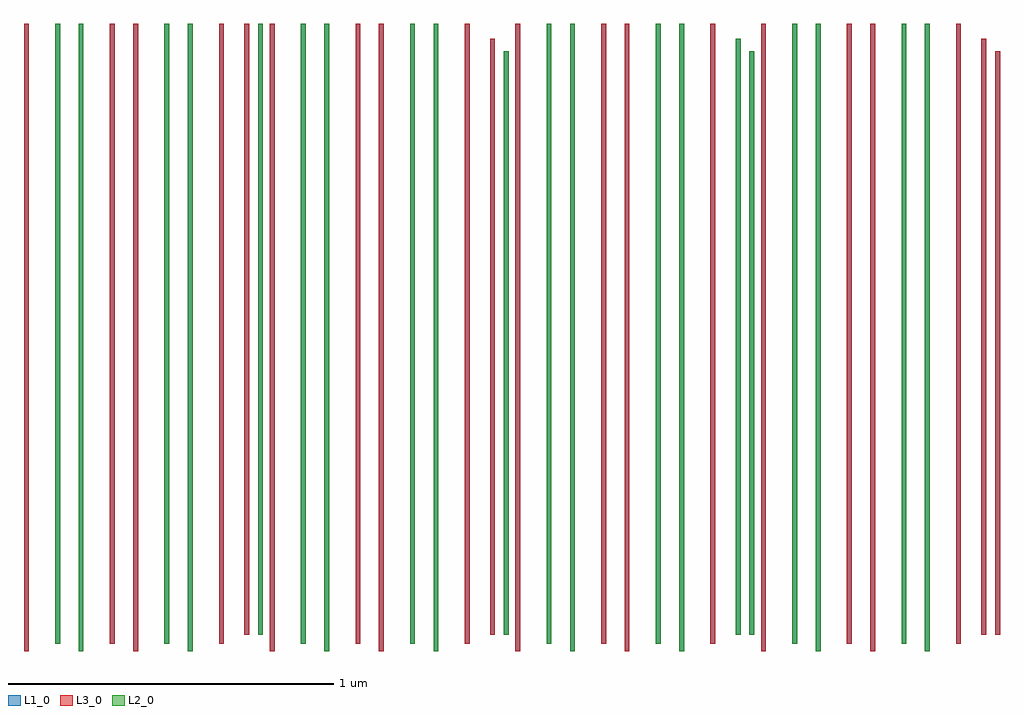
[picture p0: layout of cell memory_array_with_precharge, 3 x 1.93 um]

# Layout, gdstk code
import gdstk
lib = gdstk.Library(unit=1e-6, precision=5e-10)
def R(c, l, rs):  # rectangles x0, y0, x1, y1
    for r in rs: c.add(gdstk.rectangle(r[:2], r[2:], *l))
def A(c, l, x, y, w, h, nx, ny, dx, dy):  # array of equal rectangles
    R(c, l, [(x+i*dx, y+j*dy, x+i*dx+w, y+j*dy+h) for i in range(nx) for j in range(ny)])
L1_0 = (1, 0)
L2_0 = (2, 0)
L3_0 = (3, 0)

sram_6t = lib.new_cell('sram_6t')
R(sram_6t, L1_0, [(0.015,0,0.03,0.2625), (0.111,0,0.126,0.2625)])

proto_hold_precharge_log = lib.new_cell('PROTO_HOLD_precharge_logic_3Q')
R(proto_hold_precharge_log, L1_0, [(-0.174,-0.083,-0.159,-0.063), (-0.078,-0.0595,-0.063,-0.0395)])

memory_array_with_precha = lib.new_cell('memory_array_with_precharge')
A(memory_array_with_precha, L1_0, 0.0215, 0.064, 0.015, 0.061, 4, 1, 0.168, 0)
A(memory_array_with_precha, L1_0, 0.7775, 0.064, 0.015, 0.061, 4, 1, 0.168, 0)
A(memory_array_with_precha, L1_0, 1.5335, 0.064, 0.015, 0.061, 4, 1, 0.168, 0)
A(memory_array_with_precha, L1_0, 2.2895, 0.064, 0.015, 0.061, 4, 1, 0.168, 0)
A(memory_array_with_precha, L1_0, 0.1175, 0.0875, 0.015, 0.037, 4, 1, 0.168, 0)
A(memory_array_with_precha, L1_0, 0.8735, 0.0875, 0.015, 0.037, 4, 1, 0.168, 0)
A(memory_array_with_precha, L1_0, 1.6295, 0.0875, 0.015, 0.037, 4, 1, 0.168, 0)
A(memory_array_with_precha, L1_0, 2.3855, 0.0875, 0.015, 0.037, 4, 1, 0.168, 0)
A(memory_array_with_precha, L1_0, 1.4555, 0.1155, 0.015, 1.8335, 3, 1, 0.756, 0)
A(memory_array_with_precha, L1_0, 1.4975, 0.1155, 0.015, 1.795, 3, 1, 0.756, 0)
R(memory_array_with_precha, L1_0, [(0.6995,0.1155,0.7145,1.995), (0.7415,0.1155,0.7565,1.995)])
R(memory_array_with_precha, L2_0, [(0.1895,0.064,0.2045,1.995), (0.5255,0.064,0.5405,1.995), (0.9455,0.064,0.9605,1.995), (1.2815,0.064,1.2965,1.995), (1.7015,0.064,1.7165,1.995), (2.0375,0.064,2.0525,1.995), (2.4575,0.064,2.4725,1.995), (2.7935,0.064,2.8085,1.995), (0.1175,0.0875,0.1325,1.995), (0.4535,0.0875,0.4685,1.995), (0.8735,0.0875,0.8885,1.995), (1.2095,0.0875,1.2245,1.995), (1.6295,0.0875,1.6445,1.995), (1.9655,0.0875,1.9805,1.995), (2.3855,0.0875,2.4005,1.995), (2.7215,0.0875,2.7365,1.995), (0.7415,0.1155,0.7565,1.995), (1.4975,0.1155,1.5125,1.9105), (2.2115,0.1155,2.2265,1.949), (2.2535,0.1155,2.2685,1.9105)])
R(memory_array_with_precha, L3_0, [(0.0215,0.064,0.0365,1.995), (0.3575,0.064,0.3725,1.995), (0.7775,0.064,0.7925,1.995), (1.1135,0.064,1.1285,1.995), (1.5335,0.064,1.5485,1.995), (1.8695,0.064,1.8845,1.995), (2.2895,0.064,2.3045,1.995), (2.6255,0.064,2.6405,1.995), (0.2855,0.0875,0.3005,1.995), (0.6215,0.0875,0.6365,1.995), (1.0415,0.0875,1.0565,1.995), (1.3775,0.0875,1.3925,1.995), (1.7975,0.0875,1.8125,1.995), (2.1335,0.0875,2.1485,1.995), (2.5535,0.0875,2.5685,1.995), (2.8895,0.0875,2.9045,1.995), (0.6995,0.1155,0.7145,1.995), (1.4555,0.1155,1.4705,1.949), (2.9675,0.1155,2.9825,1.949), (3.0095,0.1155,3.0245,1.9105)])
memory_array_with_precha.add(gdstk.Reference(sram_6t, (0.1745,1.7325)))
memory_array_with_precha.add(gdstk.Reference(sram_6t, (0.3425,1.7325)))
memory_array_with_precha.add(gdstk.Reference(sram_6t, (0.5105,1.7325)))
memory_array_with_precha.add(gdstk.Reference(sram_6t, (0.0065,1.7325)))
memory_array_with_precha.add(gdstk.Reference(sram_6t, (0.5105,1.5015)))
memory_array_with_precha.add(gdstk.Reference(sram_6t, (0.3425,1.5015)))
memory_array_with_precha.add(gdstk.Reference(sram_6t, (0.1745,1.5015)))
memory_array_with_precha.add(gdstk.Reference(sram_6t, (0.0065,1.5015)))
memory_array_with_precha.add(gdstk.Reference(sram_6t, (0.0065,1.2705)))
memory_array_with_precha.add(gdstk.Reference(sram_6t, (0.5105,1.2705)))
memory_array_with_precha.add(gdstk.Reference(sram_6t, (0.3425,1.2705)))
memory_array_with_precha.add(gdstk.Reference(sram_6t, (0.1745,1.2705)))
memory_array_with_precha.add(gdstk.Reference(sram_6t, (0.0065,1.0395)))
memory_array_with_precha.add(gdstk.Reference(sram_6t, (0.1745,1.0395)))
memory_array_with_precha.add(gdstk.Reference(sram_6t, (0.3425,1.0395)))
memory_array_with_precha.add(gdstk.Reference(sram_6t, (0.5105,1.0395)))
memory_array_with_precha.add(gdstk.Reference(sram_6t, (0.1745,0.8085)))
memory_array_with_precha.add(gdstk.Reference(sram_6t, (0.3425,0.8085)))
memory_array_with_precha.add(gdstk.Reference(sram_6t, (0.5105,0.8085)))
memory_array_with_precha.add(gdstk.Reference(sram_6t, (0.0065,0.8085)))
memory_array_with_precha.add(gdstk.Reference(sram_6t, (0.5105,0.5775)))
memory_array_with_precha.add(gdstk.Reference(sram_6t, (0.3425,0.5775)))
memory_array_with_precha.add(gdstk.Reference(sram_6t, (0.1745,0.5775)))
memory_array_with_precha.add(gdstk.Reference(sram_6t, (0.0065,0.3465)))
memory_array_with_precha.add(gdstk.Reference(sram_6t, (0.0065,0.1155)))
memory_array_with_precha.add(gdstk.Reference(sram_6t, (0.5105,0.3465)))
memory_array_with_precha.add(gdstk.Reference(sram_6t, (0.3425,0.3465)))
memory_array_with_precha.add(gdstk.Reference(sram_6t, (0.1745,0.3465)))
memory_array_with_precha.add(gdstk.Reference(sram_6t, (0.1745,0.1155)))
memory_array_with_precha.add(gdstk.Reference(sram_6t, (0.3425,0.1155)))
memory_array_with_precha.add(gdstk.Reference(sram_6t, (0.5105,0.1155)))
memory_array_with_precha.add(gdstk.Reference(sram_6t, (0.0065,0.5775)))
memory_array_with_precha.add(gdstk.Reference(sram_6t, (0.7625,0.1155)))
memory_array_with_precha.add(gdstk.Reference(sram_6t, (0.9305,0.1155)))
memory_array_with_precha.add(gdstk.Reference(sram_6t, (1.0985,0.1155)))
memory_array_with_precha.add(gdstk.Reference(sram_6t, (1.2665,0.1155)))
memory_array_with_precha.add(gdstk.Reference(sram_6t, (1.2665,0.3465)))
memory_array_with_precha.add(gdstk.Reference(sram_6t, (1.0985,0.3465)))
memory_array_with_precha.add(gdstk.Reference(sram_6t, (0.9305,0.3465)))
memory_array_with_precha.add(gdstk.Reference(sram_6t, (0.7625,0.3465)))
memory_array_with_precha.add(gdstk.Reference(sram_6t, (0.7625,0.5775)))
memory_array_with_precha.add(gdstk.Reference(sram_6t, (0.9305,0.5775)))
memory_array_with_precha.add(gdstk.Reference(sram_6t, (1.0985,0.5775)))
memory_array_with_precha.add(gdstk.Reference(sram_6t, (1.2665,0.5775)))
memory_array_with_precha.add(gdstk.Reference(sram_6t, (0.7625,0.8085)))
memory_array_with_precha.add(gdstk.Reference(sram_6t, (1.2665,0.8085)))
memory_array_with_precha.add(gdstk.Reference(sram_6t, (1.0985,0.8085)))
memory_array_with_precha.add(gdstk.Reference(sram_6t, (0.9305,0.8085)))
memory_array_with_precha.add(gdstk.Reference(sram_6t, (1.2665,1.0395)))
memory_array_with_precha.add(gdstk.Reference(sram_6t, (1.0985,1.0395)))
memory_array_with_precha.add(gdstk.Reference(sram_6t, (0.9305,1.0395)))
memory_array_with_precha.add(gdstk.Reference(sram_6t, (0.7625,1.0395)))
memory_array_with_precha.add(gdstk.Reference(sram_6t, (0.9305,1.2705)))
memory_array_with_precha.add(gdstk.Reference(sram_6t, (1.0985,1.2705)))
memory_array_with_precha.add(gdstk.Reference(sram_6t, (1.2665,1.2705)))
memory_array_with_precha.add(gdstk.Reference(sram_6t, (0.7625,1.2705)))
memory_array_with_precha.add(gdstk.Reference(sram_6t, (0.7625,1.5015)))
memory_array_with_precha.add(gdstk.Reference(sram_6t, (0.9305,1.5015)))
memory_array_with_precha.add(gdstk.Reference(sram_6t, (1.0985,1.5015)))
memory_array_with_precha.add(gdstk.Reference(sram_6t, (1.2665,1.5015)))
memory_array_with_precha.add(gdstk.Reference(sram_6t, (0.7625,1.7325)))
memory_array_with_precha.add(gdstk.Reference(sram_6t, (1.2665,1.7325)))
memory_array_with_precha.add(gdstk.Reference(sram_6t, (1.0985,1.7325)))
memory_array_with_precha.add(gdstk.Reference(sram_6t, (0.9305,1.7325)))
memory_array_with_precha.add(gdstk.Reference(sram_6t, (2.0225,1.0395)))
memory_array_with_precha.add(gdstk.Reference(sram_6t, (2.0225,1.2705)))
memory_array_with_precha.add(gdstk.Reference(sram_6t, (2.0225,1.5015)))
memory_array_with_precha.add(gdstk.Reference(sram_6t, (2.0225,1.7325)))
memory_array_with_precha.add(gdstk.Reference(sram_6t, (2.4425,1.7325)))
memory_array_with_precha.add(gdstk.Reference(sram_6t, (2.6105,1.7325)))
memory_array_with_precha.add(gdstk.Reference(sram_6t, (2.7785,1.7325)))
memory_array_with_precha.add(gdstk.Reference(sram_6t, (2.2745,1.7325)))
memory_array_with_precha.add(gdstk.Reference(sram_6t, (2.7785,1.5015)))
memory_array_with_precha.add(gdstk.Reference(sram_6t, (2.6105,1.5015)))
memory_array_with_precha.add(gdstk.Reference(sram_6t, (2.4425,1.5015)))
memory_array_with_precha.add(gdstk.Reference(sram_6t, (2.2745,1.5015)))
memory_array_with_precha.add(gdstk.Reference(sram_6t, (2.2745,1.2705)))
memory_array_with_precha.add(gdstk.Reference(sram_6t, (2.7785,1.2705)))
memory_array_with_precha.add(gdstk.Reference(sram_6t, (2.6105,1.2705)))
memory_array_with_precha.add(gdstk.Reference(sram_6t, (2.4425,1.2705)))
memory_array_with_precha.add(gdstk.Reference(sram_6t, (2.2745,1.0395)))
memory_array_with_precha.add(gdstk.Reference(sram_6t, (2.4425,1.0395)))
memory_array_with_precha.add(gdstk.Reference(sram_6t, (2.6105,1.0395)))
memory_array_with_precha.add(gdstk.Reference(sram_6t, (2.7785,1.0395)))
memory_array_with_precha.add(gdstk.Reference(sram_6t, (2.4425,0.8085)))
memory_array_with_precha.add(gdstk.Reference(sram_6t, (2.6105,0.8085)))
memory_array_with_precha.add(gdstk.Reference(sram_6t, (2.7785,0.8085)))
memory_array_with_precha.add(gdstk.Reference(sram_6t, (2.2745,0.8085)))
memory_array_with_precha.add(gdstk.Reference(sram_6t, (2.7785,0.5775)))
memory_array_with_precha.add(gdstk.Reference(sram_6t, (2.6105,0.5775)))
memory_array_with_precha.add(gdstk.Reference(sram_6t, (2.4425,0.5775)))
memory_array_with_precha.add(gdstk.Reference(sram_6t, (2.2745,0.5775)))
memory_array_with_precha.add(gdstk.Reference(sram_6t, (2.2745,0.3465)))
memory_array_with_precha.add(gdstk.Reference(sram_6t, (2.4425,0.3465)))
memory_array_with_precha.add(gdstk.Reference(sram_6t, (2.6105,0.3465)))
memory_array_with_precha.add(gdstk.Reference(sram_6t, (2.7785,0.3465)))
memory_array_with_precha.add(gdstk.Reference(sram_6t, (1.5185,0.1155)))
memory_array_with_precha.add(gdstk.Reference(sram_6t, (1.6865,0.1155)))
memory_array_with_precha.add(gdstk.Reference(sram_6t, (1.8545,0.1155)))
memory_array_with_precha.add(gdstk.Reference(sram_6t, (2.0225,0.1155)))
memory_array_with_precha.add(gdstk.Reference(sram_6t, (1.8545,0.3465)))
memory_array_with_precha.add(gdstk.Reference(sram_6t, (1.6865,0.3465)))
memory_array_with_precha.add(gdstk.Reference(sram_6t, (1.5185,0.3465)))
memory_array_with_precha.add(gdstk.Reference(sram_6t, (1.5185,0.5775)))
memory_array_with_precha.add(gdstk.Reference(sram_6t, (1.6865,0.5775)))
memory_array_with_precha.add(gdstk.Reference(sram_6t, (1.8545,0.5775)))
memory_array_with_precha.add(gdstk.Reference(sram_6t, (1.5185,0.8085)))
memory_array_with_precha.add(gdstk.Reference(sram_6t, (1.8545,0.8085)))
memory_array_with_precha.add(gdstk.Reference(sram_6t, (1.6865,0.8085)))
memory_array_with_precha.add(gdstk.Reference(sram_6t, (1.8545,1.0395)))
memory_array_with_precha.add(gdstk.Reference(sram_6t, (1.6865,1.0395)))
memory_array_with_precha.add(gdstk.Reference(sram_6t, (1.5185,1.0395)))
memory_array_with_precha.add(gdstk.Reference(sram_6t, (1.6865,1.2705)))
memory_array_with_precha.add(gdstk.Reference(sram_6t, (1.8545,1.2705)))
memory_array_with_precha.add(gdstk.Reference(sram_6t, (1.5185,1.2705)))
memory_array_with_precha.add(gdstk.Reference(sram_6t, (1.5185,1.5015)))
memory_array_with_precha.add(gdstk.Reference(sram_6t, (1.6865,1.5015)))
memory_array_with_precha.add(gdstk.Reference(sram_6t, (1.8545,1.5015)))
memory_array_with_precha.add(gdstk.Reference(sram_6t, (1.5185,1.7325)))
memory_array_with_precha.add(gdstk.Reference(sram_6t, (1.8545,1.7325)))
memory_array_with_precha.add(gdstk.Reference(sram_6t, (1.6865,1.7325)))
memory_array_with_precha.add(gdstk.Reference(sram_6t, (2.7785,0.1155)))
memory_array_with_precha.add(gdstk.Reference(sram_6t, (2.6105,0.1155)))
memory_array_with_precha.add(gdstk.Reference(sram_6t, (2.4425,0.1155)))
memory_array_with_precha.add(gdstk.Reference(sram_6t, (2.2745,0.1155)))
memory_array_with_precha.add(gdstk.Reference(sram_6t, (2.0225,0.3465)))
memory_array_with_precha.add(gdstk.Reference(sram_6t, (2.0225,0.5775)))
memory_array_with_precha.add(gdstk.Reference(sram_6t, (2.0225,0.8085)))
memory_array_with_precha.add(gdstk.Reference(proto_hold_precharge_log, (1.7075,0.147)))
memory_array_with_precha.add(gdstk.Reference(proto_hold_precharge_log, (1.8755,0.147)))
memory_array_with_precha.add(gdstk.Reference(proto_hold_precharge_log, (2.0435,0.147)))
memory_array_with_precha.add(gdstk.Reference(proto_hold_precharge_log, (2.2115,0.147)))
memory_array_with_precha.add(gdstk.Reference(proto_hold_precharge_log, (2.9675,0.147)))
memory_array_with_precha.add(gdstk.Reference(proto_hold_precharge_log, (2.7995,0.147)))
memory_array_with_precha.add(gdstk.Reference(proto_hold_precharge_log, (2.6315,0.147)))
memory_array_with_precha.add(gdstk.Reference(proto_hold_precharge_log, (2.4635,0.147)))
memory_array_with_precha.add(gdstk.Reference(proto_hold_precharge_log, (0.9515,0.147)))
memory_array_with_precha.add(gdstk.Reference(proto_hold_precharge_log, (1.1195,0.147)))
memory_array_with_precha.add(gdstk.Reference(proto_hold_precharge_log, (1.2875,0.147)))
memory_array_with_precha.add(gdstk.Reference(proto_hold_precharge_log, (1.4555,0.147)))
memory_array_with_precha.add(gdstk.Reference(proto_hold_precharge_log, (0.1955,0.147)))
memory_array_with_precha.add(gdstk.Reference(proto_hold_precharge_log, (0.3635,0.147)))
memory_array_with_precha.add(gdstk.Reference(proto_hold_precharge_log, (0.5315,0.147)))
memory_array_with_precha.add(gdstk.Reference(proto_hold_precharge_log, (0.6995,0.147)))

lib.write_gds('memory_array_with_precharge.gds')
